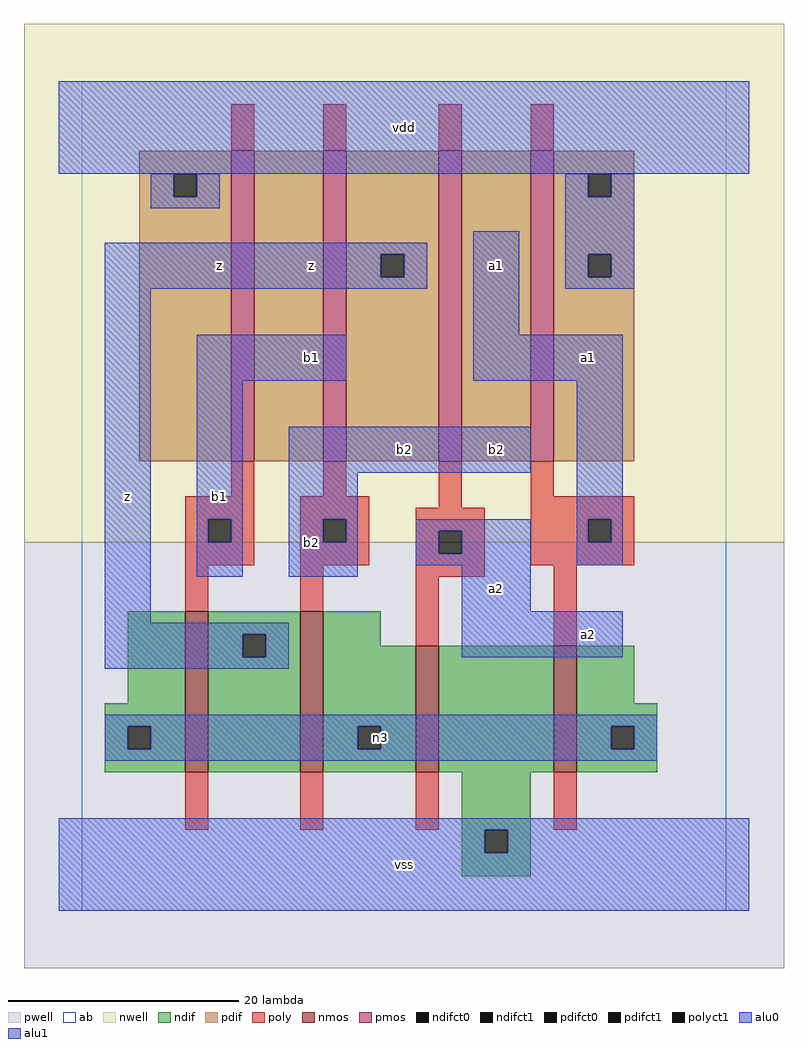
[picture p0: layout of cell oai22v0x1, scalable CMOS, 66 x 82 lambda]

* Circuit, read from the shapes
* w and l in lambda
.subckt oai22v0x1 a1 a2 b1 b2 n3 vdd vss z
M1 z b1 n3 VSUBS nfet w=14 l=2
M2 n3 b2 z VSUBS nfet w=14 l=2
M3 vss a2 n3 VSUBS nfet w=11 l=2
M4 n3 a1 vss VSUBS nfet w=11 l=2
M5 n1 b1 vdd n2 pfet w=27 l=2
M6 z b2 n1 n2 pfet w=27 l=2
M7 n4 a2 z n2 pfet w=27 l=2
M8 vdd a1 n4 n2 pfet w=27 l=2
.ends

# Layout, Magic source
magic
tech scmos
<< ab >>
rect 0 0 56 72
<< nwell >>
rect -5 32 61 77
<< pwell >>
rect -5 -5 61 32
<< poly >>
rect 13 66 15 70
rect 21 66 23 70
rect 31 66 33 70
rect 39 66 41 70
rect 13 36 15 39
rect 21 36 23 39
rect 9 34 15 36
rect 9 32 11 34
rect 13 32 15 34
rect 9 30 15 32
rect 19 34 25 36
rect 31 35 33 39
rect 39 36 41 39
rect 19 32 21 34
rect 23 32 25 34
rect 19 30 25 32
rect 29 33 35 35
rect 29 31 31 33
rect 33 31 35 33
rect 9 26 11 30
rect 19 26 21 30
rect 29 29 35 31
rect 39 34 48 36
rect 39 32 44 34
rect 46 32 48 34
rect 39 30 48 32
rect 29 23 31 29
rect 41 23 43 30
rect 9 7 11 12
rect 19 7 21 12
rect 29 7 31 12
rect 41 7 43 12
<< ndif >>
rect 4 18 9 26
rect 2 16 9 18
rect 2 14 4 16
rect 6 14 9 16
rect 2 12 9 14
rect 11 24 19 26
rect 11 22 14 24
rect 16 22 19 24
rect 11 12 19 22
rect 21 23 26 26
rect 21 16 29 23
rect 21 14 24 16
rect 26 14 29 16
rect 21 12 29 14
rect 31 12 41 23
rect 43 18 48 23
rect 43 16 50 18
rect 43 14 46 16
rect 48 14 50 16
rect 43 12 50 14
rect 33 7 39 12
rect 33 5 35 7
rect 37 5 39 7
rect 33 3 39 5
<< pdif >>
rect 5 64 13 66
rect 5 62 8 64
rect 10 62 13 64
rect 5 39 13 62
rect 15 39 21 66
rect 23 57 31 66
rect 23 55 26 57
rect 28 55 31 57
rect 23 39 31 55
rect 33 39 39 66
rect 41 64 48 66
rect 41 62 44 64
rect 46 62 48 64
rect 41 57 48 62
rect 41 55 44 57
rect 46 55 48 57
rect 41 39 48 55
<< alu1 >>
rect -2 64 58 72
rect 2 57 30 58
rect 2 55 26 57
rect 28 55 30 57
rect 2 54 30 55
rect 2 25 6 54
rect 34 50 38 59
rect 10 46 23 50
rect 34 46 47 50
rect 10 34 14 46
rect 10 32 11 34
rect 13 32 14 34
rect 10 29 14 32
rect 18 38 39 42
rect 18 34 24 38
rect 43 34 47 46
rect 18 32 21 34
rect 23 32 24 34
rect 18 29 24 32
rect 29 33 39 34
rect 29 31 31 33
rect 33 31 39 33
rect 29 30 39 31
rect 43 32 44 34
rect 46 32 47 34
rect 43 30 47 32
rect 33 26 39 30
rect 2 24 18 25
rect 2 22 14 24
rect 16 22 18 24
rect 33 22 47 26
rect 2 21 18 22
rect -2 7 58 8
rect -2 5 35 7
rect 37 5 58 7
rect -2 0 58 5
<< nmos >>
rect 9 12 11 26
rect 19 12 21 26
rect 29 12 31 23
rect 41 12 43 23
<< pmos >>
rect 13 39 15 66
rect 21 39 23 66
rect 31 39 33 66
rect 39 39 41 66
<< polyct1 >>
rect 11 32 13 34
rect 21 32 23 34
rect 31 31 33 33
rect 44 32 46 34
<< ndifct0 >>
rect 4 14 6 16
rect 24 14 26 16
rect 46 14 48 16
<< ndifct1 >>
rect 14 22 16 24
rect 35 5 37 7
<< pdifct0 >>
rect 8 62 10 64
rect 44 62 46 64
rect 44 55 46 57
<< pdifct1 >>
rect 26 55 28 57
<< alu0 >>
rect 6 62 8 64
rect 10 62 12 64
rect 6 61 12 62
rect 42 62 44 64
rect 46 62 48 64
rect 42 57 48 62
rect 42 55 44 57
rect 46 55 48 57
rect 42 54 48 55
rect 2 16 50 17
rect 2 14 4 16
rect 6 14 24 16
rect 26 14 46 16
rect 48 14 50 16
rect 2 13 50 14
<< labels >>
rlabel alu0 26 15 26 15 6 n3
rlabel alu1 4 36 4 36 6 z
rlabel alu1 20 32 20 32 6 b2
rlabel alu1 12 36 12 36 6 b1
rlabel alu1 20 48 20 48 6 b1
rlabel alu1 20 56 20 56 6 z
rlabel alu1 12 56 12 56 6 z
rlabel alu1 28 4 28 4 6 vss
rlabel alu1 36 28 36 28 6 a2
rlabel alu1 36 40 36 40 6 b2
rlabel alu1 28 40 28 40 6 b2
rlabel alu1 36 56 36 56 6 a1
rlabel alu1 28 68 28 68 6 vdd
rlabel alu1 44 24 44 24 6 a2
rlabel alu1 44 48 44 48 6 a1
<< end >>
